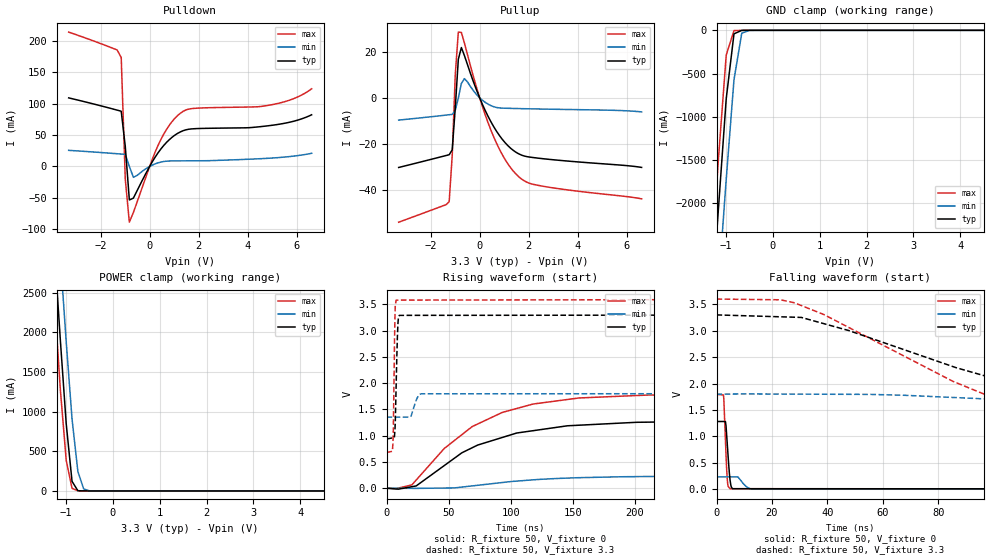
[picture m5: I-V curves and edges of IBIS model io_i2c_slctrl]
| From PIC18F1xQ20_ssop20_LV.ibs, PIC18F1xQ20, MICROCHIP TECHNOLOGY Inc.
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[Model] io_i2c_slctrl
Model_type I/O
Vinl  =  0.8
Vinh  =  2
| Capacitance   typ   min   max
C_comp   2.725046340352118e-12   2.71334004266981e-12   2.871105718931219e-12
[Model Spec]
| Subparameter   typ   min   max
Vinl   1.5   0.81   1.65
Vinh   3.6   1.89   3.85
Vmeas   2.5   1.35   2.75
| Variables   typ   min   max
[GND Clamp Reference]   0   0   0
[POWER Clamp Reference]   3.3   1.8   3.6
[Pulldown Reference]   0   0   0
[Pullup Reference]   3.3   1.8   3.6
[Temperature Range]   25   125   -40
[Voltage Range]   3.3   1.8   3.6
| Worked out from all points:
|   slope of the pulldown table from 0 to 0.495 V, typ, clamps not added: 16.7 ohm
|   slope of the pullup table from 0 to 0.495 V, typ, clamps not added: 44.8 ohm
|   GND clamp passes 1 mA (typ) near -0.66 V on its own axis
|   POWER clamp passes 1 mA (typ) near -0.65 V on its own axis
|   falling waveform, R_fixture 50, V_fixture 0: 20-80 % time 1.07ns typ, 2.39ns min, 837ps max; typ from 1.28 V to 0 V
|   falling waveform, R_fixture 50, V_fixture 3.3: 20-80 % time 101ns typ, 148ns min, 76.7ns max; typ from 3.3 V to 0.941 V
|   rising waveform, R_fixture 50, V_fixture 0: 20-80 % time 65ns typ, 68.6ns min, 61ns max; typ from 0 V to 1.28 V
|   rising waveform, R_fixture 50, V_fixture 3.3: 20-80 % time 1.48ns typ, 3.89ns min, 1.03ns max; typ from 0.936 V to 3.3 V
[GND Clamp]
| Voltage   I(typ)   I(min)   I(max)
-3.3V     -18.84A    -18.97A    -18.81A
-1.324V   -3.355A    -4.2A      -2.821A
-1.159V   -2.058A    -2.962A    -1.482A
-993.1mV  -791.4mA   -1.724A    -285.7mA
-827.6mV  -40.7mA    -571.9mA   -3.271mA
-662.1mV  -675.5uA   -33.29mA   -476.7uA
-496.6mV  -18.01uA   -398.8uA   -5.006uA
6.6V      0A         0A         0A
[POWER Clamp]
| Voltage   I(typ)   I(min)   I(max)
-3.3V     21.48A     21.8A      21.33A
-1.366V   4.118A     5.086A     3.519A
-1.241V   3.004A     4.013A     2.376A
-1.117V   1.891A     2.941A     1.268A
-993.1mV  844.6mA    1.878A     384mA
-869mV    120.1mA    905.2mA    32.59mA
-744.8mV  3.04mA     244.8mA    1.422mA
-620.7mV  355.2uA    25.38mA    411.4uA
-496.6mV  31.76uA    1.028mA    50.2uA
6.6V      0A         0A         0A
[Pulldown]
| Voltage   I(typ)   I(min)   I(max)
-3.3V     109.4mA    25.68mA    214.5mA
-1.324V   89.88mA    20.27mA    185.9mA
-1.159V   88.12mA    19.77mA    173.8mA
-993.1mV  31.88mA    19.25mA    -20.25mA
-827.6mV  -53.52mA   -38.8uA    -89.02mA
-662.1mV  -50.57mA   -17.43mA   -73.42mA
341.4mV   21.7mA     5.717mA    33.47mA
796.6mV   42.57mA    8.672mA    65.49mA
1.252V    55.14mA    8.913mA    84.98mA
1.821V    60.19mA    9.023mA    92.72mA
4.914V    65.31mA    13.23mA    98.08mA
6.6V      82.43mA    20.93mA    123.9mA
[Pullup]
| Voltage   I(typ)   I(min)   I(max)
-3.3V     -30.16mA   -9.647mA   -53.85mA
-1.241V   -24.64mA   -7.321mA   -44.94mA
-1.117V   -22.53mA   -7.16mA    -24.83mA
-993.1mV  -4.252mA   -5.372mA   10.11mA
-869mV    16.68mA    -65.45uA   28.46mA
-744.8mV  21.76mA    6.197mA    28.3mA
-620.7mV  18.28mA    8.325mA    23.71mA
455.2mV   -10.29mA   -3.355mA   -13.89mA
1.024V    -19.27mA   -4.499mA   -26.48mA
1.593V    -24.26mA   -4.657mA   -34.17mA
2.503V    -26.27mA   -4.856mA   -38.14mA
6.6V      -30.13mA   -6.09mA    -43.73mA
[Ramp]
dV/dt_r   0.768802/65.047n  0.139526/68.5748n  1.07649/61.05n
dV/dt_f   1.4156/0.100566u  0.266084/0.148319u  1.75145/76.7392n
R_load = 50
[Falling Waveform]
R_fixture = 50
V_fixture = 0
V_fixture_min = 0
V_fixture_max = 0
| Time   V(typ)   V(min)   V(max)
0s        1.281V     232.5mV    1.794V
2.516ns   1.282V     232.7mV    1.784V
2.633ns   1.282V     232.7mV    1.705V
3.212ns   1.282V     232.7mV    937.5mV
3.879ns   852.7mV    232.7mV    182.5mV
4.197ns   609mV      232.7mV    52.78mV
4.901ns   166.8mV    232.8mV    8.594mV
5.92ns    8.385mV    232.8mV    8.578mV
14.2ns    8.26mV     829.2uV    8.451mV
562.5ns   4.369uV    4.383uV    3.018uV
[Falling Waveform]
R_fixture = 50
V_fixture = 3.3
V_fixture_min = 1.8
V_fixture_max = 3.6
| Time   V(typ)   V(min)   V(max)
0s        3.3V       1.8V       3.6V
28.02ns   3.256V     1.8V       3.531V
47.84ns   3.002V     1.796V     3.059V
85.28ns   2.322V     1.737V     2.043V
114.4ns   1.883V     1.668V     1.417V
146.7ns   1.534V     1.591V     1V
164.4ns   1.344V     1.551V     926.3mV
202.7ns   1.15V      1.493V     825.6mV
242.4ns   1.062V     1.447V     763.9mV
562.5ns   940.7mV    1.357V     680.9mV
[Rising Waveform]
R_fixture = 50
V_fixture = 0
V_fixture_min = 0
V_fixture_max = 0
| Time   V(typ)   V(min)   V(max)
0s        -64.57pV   6.125nV    -75.35pV
20.42ns   28.55mV    -2.678mV   63.02mV
23.91ns   43.52mV    -3.135mV   155.7mV
46.51ns   430.8mV    3.195mV    756.3mV
69.01ns   770.2mV    43.83mV    1.173V
93.24ns   965.7mV    108.3mV    1.442V
118ns     1.094V     159.1mV    1.602V
155ns     1.199V     200.4mV    1.718V
210.6ns   1.257V     222.7mV    1.773V
562.5ns   1.281V     232.5mV    1.794V
[Rising Waveform]
R_fixture = 50
V_fixture = 3.3
V_fixture_min = 1.8
V_fixture_max = 3.6
| Time   V(typ)   V(min)   V(max)
0s        936.3mV    1.353V     678.2mV
5.048ns   958.6mV    1.353V     813.1mV
5.504ns   960.6mV    1.353V     1.152V
6.802ns   1.117V     1.353V     3.285V
7.737ns   1.944V     1.353V     3.58V
9.151ns   3.118V     1.353V     3.58V
10.31ns   3.29V      1.353V     3.58V
19.09ns   3.29V      1.353V     3.581V
28.07ns   3.29V      1.797V     3.581V
562.5ns   3.3V       1.8V       3.6V
